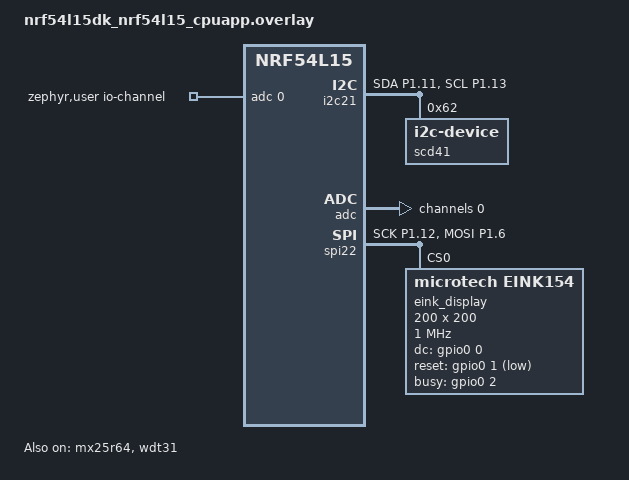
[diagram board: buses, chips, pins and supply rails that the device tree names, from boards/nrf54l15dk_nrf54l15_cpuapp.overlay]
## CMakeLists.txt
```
#
# Copyright (c) 2023 Nordic Semiconductor ASA
#
# SPDX-License-Identifier: LicenseRef-Nordic-5-Clause
#

cmake_minimum_required(VERSION 3.20.0)

find_package(Zephyr HINTS $ENV{ZEPHYR_BASE})

project(thermostat)

# Enable GNU STD support.
include(${ZEPHYR_CONNECTEDHOMEIP_MODULE_DIR}/config/nrfconnect/app/enable-gnu-std.cmake)

# NORDIC SDK APP START

# Include all source files that are located in the Matter common directory.
include(${ZEPHYR_NRF_MODULE_DIR}/samples/matter/common/cmake/source_common.cmake)

# Include Data Model utils
include(${ZEPHYR_NRF_MODULE_DIR}/samples/matter/common/cmake/data_model.cmake)

include(${ZEPHYR_NRF_MODULE_DIR}/samples/matter/common/cmake/zap_helpers.cmake)
ncs_get_zap_parent_dir(ZAP_PARENT_DIR)

target_include_directories(app PRIVATE
  src
  ${ZAP_PARENT_DIR}
)

target_sources(app PRIVATE
  src/app_task.cpp
  src/battery_manager.cpp
  src/display_manager.cpp
  src/main.cpp
  src/temp_sensor_manager.cpp
  src/temperature_manager.cpp
  src/temperature_measurement/sensor.cpp
  src/temperature_measurement/scd41.c
  src/drivers/eink154.c
  src/font_render.c
  src/zcl_callbacks.cpp
  ${ZEPHYR_NRF_MODULE_DIR}/samples/matter/common/src/binding/binding_handler.cpp
)

ncs_configure_data_model()
# NORDIC SDK APP END
```

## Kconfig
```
#
# Copyright (c) 2023 Nordic Semiconductor
#
# SPDX-License-Identifier: LicenseRef-Nordic-5-Clause
#
mainmenu "Matter Thermostat sample application"

config THERMOSTAT_TEMPERATURE_STEP
	int "Defines a simulated temperature step. Use 0 for random"
	default 0
	help
	  A temperature step that defines differences between consecutive simulated temperature measurements. If set to 0, then the step is random.

config THERMOSTAT_SIMULATED_TEMPERATURE_MAX
	int "Maximum simulated temperature value"
	default 3000

config THERMOSTAT_SIMULATED_TEMPERATURE_MIN
	int "Minimum simulated temperature value"
	default 1500

config THERMOSTAT_SIMULATED_TEMPERATURE_CHANGE
	bool "Select to set the temperature to rise or fall"
	default y
	help
	  If set to true, the simulated temperature is rising. If set to false, the simulated temperature is falling.

# Enable Read Client functionality for all build configurations.
config CHIP_ENABLE_READ_CLIENT
	default y

config WT_DISABLE_TRV_SUBSCRIPTION
	bool "Power-Messtest: TRV-Subscription deaktiviert"
	default n
	help
	  Nur fuer die PPK2-Stromverbrauchsmessung - keine Subscription zum
	  TRV-Heizkoerperventil. NICHT fuer normale Builds, das Ventil wird
	  dann nicht angesteuert.

config WT_DISABLE_SENSOR
	bool "Power-Messtest: SCD41-Sensor-Timer deaktiviert"
	default n
	help
	  Nur fuer die PPK2-Stromverbrauchsmessung - kein SCD41-Polling.
	  NICHT fuer normale Builds, es werden keine Temperatur-/
	  Feuchtigkeitswerte gemessen.

config WT_DISABLE_DISPLAY
	bool "Power-Messtest: E-Paper-Display deaktiviert"
	default n
	help
	  Nur fuer die PPK2-Stromverbrauchsmessung - Display-Treiber wird nicht
	  initialisiert, keine Refreshes. NICHT fuer normale Builds, das Geraet
	  zeigt dann nichts an.

config WT_POWER_TEST_MINIMAL
	bool "Power-Messtest: TRV-Subscription, Sensor-Timer und Display-Updates deaktiviert"
	default n
	select WT_DISABLE_TRV_SUBSCRIPTION
	select WT_DISABLE_SENSOR
	select WT_DISABLE_DISPLAY
	help
	  Nur fuer die PPK2-Stromverbrauchsmessung (Test A) - lasst nur ICD/Thread
	  Boot+Attach+Idle laufen, ohne jegliche TRV-Subscription, SCD41-Polling
	  oder E-Paper-Refreshes. Isoliert den reinen ICD/Thread-Stromanteil vom
	  Rest der Anwendung. Kombiniert die drei einzelnen Schalter unten - fuer
	  gezieltere Tests (nur EINEN Verbraucher abschalten) die einzelnen
	  Schalter direkt setzen statt diesen hier. NICHT fuer normale Builds
	  verwenden - das Geraet zeigt dann keine Werte an und aktualisiert das
	  Ventil nicht.

# Sample configuration used for Thread networking
if OPENTHREAD

choice OPENTHREAD_NORDIC_LIBRARY_CONFIGURATION
	default OPENTHREAD_NORDIC_LIBRARY_MTD
endchoice

choice OPENTHREAD_DEVICE_TYPE
	default OPENTHREAD_MTD
endchoice

endif # OPENTHREAD

config CHIP_WIFI
	default y if SHIELD_NRF7002EB2

source "$(ZEPHYR_CONNECTEDHOMEIP_MODULE_DIR)/config/nrfconnect/chip-module/Kconfig.features"
source "$(ZEPHYR_CONNECTEDHOMEIP_MODULE_DIR)/config/nrfconnect/chip-module/Kconfig.defaults"
source "$(ZEPHYR_NRF_MODULE_DIR)/samples/matter/common/src/Kconfig"
source "Kconfig.zephyr"
```

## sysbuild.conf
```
#
# Copyright (c) 2024 Nordic Semiconductor
#
# SPDX-License-Identifier: LicenseRef-Nordic-5-Clause
#

SB_CONFIG_MATTER=y
SB_CONFIG_PARTITION_MANAGER=n

# Kconfig.sysbuild defaults this to y unconditionally, which needs DAC/PAI
# certs we don't have (CONFIG_CHIP_FACTORY_DATA_NONE=y in prj.conf - no
# factory data provider at all). A previous incremental build happened to
# have a stale cached factory_data.hex lying around so this never surfaced;
# a full pristine (-p always) build removes it and the matter_factory_data
# sysbuild image then fails trying to regenerate certs we never configured.
SB_CONFIG_MATTER_FACTORY_DATA_GENERATE=n

# Pure Ed25519 image signing: skips the separate SHA pre-hash step in the
# bootloader verify path (smaller mcuboot). Applied at sysbuild level so the
# app image is signed with the matching scheme.
SB_CONFIG_BOOT_SIGNATURE_TYPE_PURE=y
```

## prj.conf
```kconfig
#
# Copyright (c) 2023 Nordic Semiconductor ASA
#
# SPDX-License-Identifier: LicenseRef-Nordic-5-Clause
#

# This sample uses Kconfig.defaults to set options common for all
# samples. This file should contain only options specific for this sample
# or overrides of default values.

# Enable CHIP
CONFIG_CHIP=y
CONFIG_CHIP_PROJECT_CONFIG="src/chip_project_config.h"
CONFIG_CHIP_DEVICE_PRODUCT_NAME="Wandthermostat"
CONFIG_I2C=y
CONFIG_ADC=y
CONFIG_AUXDISPLAY=n
CONFIG_AUXDISPLAY_HD44780=n

# E-Paper (Microtech MTE0154A03B-V1), replaces the HD44780
CONFIG_DISPLAY=y
CONFIG_SPI=y
# Without this the eink154 driver's own LOG_INF/LOG_WRN/LOG_ERR never show up
# at all (not even the always-on "initialisiert" line) - its log module is
# keyed off CONFIG_DISPLAY_LOG_LEVEL, which stays effectively off otherwise.
CONFIG_DISPLAY_LOG_LEVEL_INF=y
# k_malloc() for the framebuffer (display_manager.cpp, eink154.c). 6000 was
# too tight for a single 5000-byte allocation - sys_heap bookkeeping and
# possibly other k_malloc users leave less usable space than the nominal
# pool size suggests. 16 KiB gives real headroom.
CONFIG_HEAP_MEM_POOL_SIZE=16384

# Configure ZAP file name
CONFIG_NCS_SAMPLE_MATTER_ZAP_FILE_PATH="${APPLICATION_CONFIG_DIR}/src/default_zap/thermostat.zap"

# 32782 == 0x800e (example thermostat product)
CONFIG_CHIP_DEVICE_PRODUCT_ID=32782
CONFIG_STD_CPP17=y

# Enable Matter pairing automatically on application start.
CONFIG_CHIP_ENABLE_PAIRING_AUTOSTART=y

# Enable Matter extended announcement and increase duration to 1 hour.
CONFIG_CHIP_BLE_EXT_ADVERTISING=y
CONFIG_CHIP_BLE_ADVERTISING_DURATION=60

# Add support for LEDs and buttons on Nordic development kits
CONFIG_DK_LIBRARY=y

# Bluetooth Low Energy configuration
CONFIG_BT_DEVICE_NAME="MatterThermo"

# Other settings
CONFIG_THREAD_NAME=y
CONFIG_MPU_STACK_GUARD=y
CONFIG_RESET_ON_FATAL_ERROR=y
CONFIG_NCS_SAMPLE_MATTER_WATCHDOG=y
CONFIG_CHIP_LIB_SHELL=n
CONFIG_NCS_SAMPLE_MATTER_TEST_SHELL=n

# Crash diagnostics (kept as a safety net; found the abort() root cause with
# these + a GDB breakpoint, LOG_MODE_IMMEDIATE/EXCEPTION_STACK_TRACE removed
# again since they didn't contribute and add overhead)
CONFIG_ASSERT=y
CONFIG_ASSERT_VERBOSE=y
CONFIG_THREAD_STACK_INFO=y

# arm-zephyr-eabi-readelf.exe is blocked by WDAC on the build machine; this
# skips the post-build zephyr.stat generation that calls it (diagnostic-only
# output, nothing in the build depends on it).
CONFIG_OUTPUT_STAT=n

# Default system workqueue stack (1120 B) is too small for BatteryManager's
# work handler: ADC read + 8 back-to-back Matter attribute writes overflowed
# it (Zephyr fatal error 2, thread "sysworkq").
CONFIG_SYSTEM_WORKQUEUE_STACK_SIZE=4096

# Disable NFC onboarding
CONFIG_CHIP_NFC_ONBOARDING_PAYLOAD=y

# Reduce application size
CONFIG_USE_SEGGER_RTT=n

# Factory Data completely disabled (choice option "No factory data provider")
# - avoids Factory Data generation tooling, blocked by WDAC on build machine
CONFIG_CHIP_FACTORY_DATA_NONE=y

# Fixed commissioning values for testing
CONFIG_CHIP_DEVICE_DISCRIMINATOR=0xF00
CONFIG_CHIP_DEVICE_SPAKE2_PASSCODE=20202021
CONFIG_CHIP_DEVICE_VENDOR_ID=65521
```

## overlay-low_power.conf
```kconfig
CONFIG_CHIP_ENABLE_ICD_SUPPORT=y
# LIT (Long Idle Time) zieht automatisch CHECK_IN_SUPPORT + UAT_SUPPORT mit
# rein (zusaetzlicher periodischer Check-In-Funkverkehr an registrierte
# Clients) - haben wir ohne echten Bedarf (kein Hub braucht 120s-Idle-Zeiten)
# aktiviert gehabt. TRV-Referenzprojekt nutzt stattdessen einfaches SIT
# (Short Idle Time) und kommt auf 23-25uA. Ausserdem war unser
# ACTIVE_MODE_DURATION=300ms laut Kconfig-Hilfetext fuer LIT-Geraete ohnehin
# ungueltig (Minimum 5000ms fuer LIT). Zurueck auf SIT.
# CONFIG_CHIP_ICD_LIT_SUPPORT=y
# Ohne LIT_SUPPORT gilt der SIT-Spec-Grenzwert: SLOW_POLL_INTERVAL darf
# 15000ms (CHIP_ICD_SIT_SLOW_POLL_LIMIT) nicht ueberschreiten, sonst schlaegt
# ein static_assert in ICDConfigurationData.h fehl. 120000 (vorheriger Wert,
# nur fuer LIT gueltig) geht nicht mehr - also auf das SIT-Maximum.
CONFIG_CHIP_ICD_SLOW_POLL_INTERVAL=15000
CONFIG_CHIP_ICD_FAST_POLLING_INTERVAL=200
CONFIG_CHIP_ICD_ACTIVE_MODE_DURATION=300
# Dieses Symbol ist in SEKUNDEN (nicht ms) - 120000 wurde faelschlich als ms
# interpretiert und ueberschritt die Matter-Spec-Obergrenze von 64800s (18h).
# Referenzprojekt meinte "120 s" (Sekunden).
CONFIG_CHIP_ICD_IDLE_MODE_DURATION=120


CONFIG_NCS_SAMPLE_MATTER_LEDS=n
CONFIG_CHIP_LIB_SHELL=n

CONFIG_OPENTHREAD_MTD=y
CONFIG_OPENTHREAD_NORDIC_LIBRARY_MTD=y
CONFIG_OPENTHREAD_DEFAULT_TX_POWER=0

CONFIG_CHIP_NFC_ONBOARDING_PAYLOAD=n
CONFIG_CHIP_BLE_EXT_ADVERTISING=y

CONFIG_SYSTEM_CLOCK_NO_WAIT=y
# Von 4000ms erhoeht - jede Kalibrierung kostet einen kurzen Stromspike,
# seltener kalibrieren spart im Schnitt etwas Strom auf Kosten der
# HF-Timing-Genauigkeit (bei 8s weiterhin unkritisch).
CONFIG_MPSL_CALIBRATION_PERIOD=8000

CONFIG_SHELL=n
CONFIG_OPENTHREAD_SHELL=n
CONFIG_BOOT_BANNER=n

# UART/Konsole komplett aus - spart den Stromverbrauch des UART-Taktdomains,
# kostet dafuer jegliche Boot-/Debug-Ausgabe in diesem Build.
CONFIG_SERIAL=n
CONFIG_UART_CONSOLE=n
CONFIG_CONSOLE=n

# Alle Log-Arten komplett aus (RTT war in prj.conf ohnehin schon deaktiviert,
# das hier schaltet auch den Log-Subsystem-Overhead selbst ab, nicht nur den
# Ausgabeweg).
CONFIG_LOG=n
CONFIG_LOG_MODE_MINIMAL=n

CONFIG_RAM_POWER_DOWN_LIBRARY=y
CONFIG_PM_DEVICE=y
# Ohne das schlief ungenutzte Peripherie (I2C/SPI/ADC/Display) nie, auch
# wenn CONFIG_PM_DEVICE=y gesetzt war - Runtime-PM ruft das Device-Suspend
# tatsaechlich auf, sobald ein Treiber ungenutzt ist (nicht nur CPU-Idle).
CONFIG_PM_DEVICE_RUNTIME=y

CONFIG_PRINTK=n
CONFIG_ASSERT=n
CONFIG_ASSERT_VERBOSE=n
CONFIG_DEBUG=n

# CONFIG_PM=y wird vom Kconfig-System fuer nrf54l15dk/cpuapp aktuell (NCS v3.4.0)
# ignoriert ("assigned the value 'y' but got the value 'n'": HAS_PM ist fuer die
# nRF54L-SoC-Serie in diesem Zephyr-Tree noch nicht selektiert, nur nRF54H/nRF92).
# Bleibt trotzdem gesetzt fuer den Tag, an dem NCS das nachruestet - hat aktuell
# keine Wirkung, der eigentliche Gewinn kommt aus PM_DEVICE_RUNTIME oben.
CONFIG_PM=y
```

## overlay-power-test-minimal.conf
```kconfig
# Test A (PPK2-Isolationsmessung): Nur ICD/Thread Boot+Attach+Idle, keine
# TRV-Subscription, kein SCD41-Sensor-Polling, kein E-Paper-Refresh. Zusammen
# mit overlay-low_power.conf verwenden:
#
#   -DEXTRA_CONF_FILE="overlay-low_power.conf;overlay-power-test-minimal.conf"
#
# NICHT fuer normale Builds - das Geraet zeigt dann nichts an und steuert
# das Ventil nicht. Nur zum Isolieren des reinen ICD/Thread-Stromanteils.
CONFIG_WT_POWER_TEST_MINIMAL=y
```

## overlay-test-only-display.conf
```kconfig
# Test B (PPK2-Isolationsmessung): ICD/Thread + E-Paper-Display aktiv,
# Sensor und TRV-Subscription deaktiviert. Zusammen mit overlay-low_power.conf:
#
#   -DEXTRA_CONF_FILE="overlay-low_power.conf;overlay-test-only-display.conf"
#
# NICHT fuer normale Builds - es werden keine Sensordaten gemessen und das
# Ventil nicht angesteuert.
CONFIG_WT_DISABLE_SENSOR=y
CONFIG_WT_DISABLE_TRV_SUBSCRIPTION=y
```

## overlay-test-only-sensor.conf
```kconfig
# Test C (PPK2-Isolationsmessung): ICD/Thread + SCD41-Sensor aktiv,
# Display und TRV-Subscription deaktiviert. Zusammen mit overlay-low_power.conf:
#
#   -DEXTRA_CONF_FILE="overlay-low_power.conf;overlay-test-only-sensor.conf"
#
# NICHT fuer normale Builds - das Geraet zeigt nichts an und das Ventil wird
# nicht angesteuert.
CONFIG_WT_DISABLE_DISPLAY=y
CONFIG_WT_DISABLE_TRV_SUBSCRIPTION=y
```

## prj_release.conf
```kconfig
#
# Copyright (c) 2023 Nordic Semiconductor ASA
#
# SPDX-License-Identifier: LicenseRef-Nordic-5-Clause
#

# This sample uses Kconfig.defaults to set options common for all
# samples. This file should contain only options specific for this sample
# or overrides of default values.

# Enable CHIP
CONFIG_CHIP=y
CONFIG_CHIP_PROJECT_CONFIG="src/chip_project_config.h"
CONFIG_CHIP_DEVICE_PRODUCT_NAME="Wandthermostat"

# Configure ZAP file name
CONFIG_NCS_SAMPLE_MATTER_ZAP_FILE_PATH="${APPLICATION_CONFIG_DIR}/src/default_zap/thermostat.zap"

# 32782 == 0x800e (example thermostat product)
CONFIG_CHIP_DEVICE_PRODUCT_ID=32782
CONFIG_STD_CPP17=y

# Enable Matter pairing automatically on application start.
CONFIG_CHIP_ENABLE_PAIRING_AUTOSTART=y

# Enable Matter extended announcement and increase duration to 1 hour.
CONFIG_CHIP_BLE_EXT_ADVERTISING=y
CONFIG_CHIP_BLE_ADVERTISING_DURATION=60

# Add support for LEDs and buttons on Nordic development kits
CONFIG_DK_LIBRARY=y

# Bluetooth Low Energy configuration
CONFIG_BT_DEVICE_NAME="MatterThermo"

# Enable system reset on fatal error
CONFIG_RESET_ON_FATAL_ERROR=y

# Disable all debug features
CONFIG_USE_SEGGER_RTT=n
CONFIG_SHELL=n
CONFIG_OPENTHREAD_SHELL=n
CONFIG_CONSOLE=n
CONFIG_UART_CONSOLE=n
CONFIG_SERIAL=n
CONFIG_LOG=n
CONFIG_LOG_MODE_MINIMAL=n
CONFIG_ASSERT=n
CONFIG_ASSERT_VERBOSE=n
CONFIG_ASSERT_NO_FILE_INFO=y
CONFIG_PRINTK=n
CONFIG_PRINTK_SYNC=n
CONFIG_THREAD_NAME=n
CONFIG_DEBUG=n
CONFIG_BOOT_BANNER=n

# Disable NFC onboarding
CONFIG_CHIP_NFC_ONBOARDING_PAYLOAD=n

# Enable Factory Data feature
# TODO: SB_CONFIG_MATTER_FACTORY_DATA_GENERATE=n in sysbuild.conf blockiert
# echte Factory-Data fuer Release-Builds (wurde fuer den normalen prj.conf-
# Debug-Build noetig, siehe Kommentar dort: DAC/PAI-Zertifikate fehlen).
# Vor Produktionsstart build-spezifisch loesen, sonst generiert dieser
# Release-Build hier trotz CONFIG_CHIP_FACTORY_DATA_BUILD=y keine echten
# Credentials.
CONFIG_CHIP_FACTORY_DATA=y
CONFIG_CHIP_FACTORY_DATA_BUILD=y

# Enable Watchdog
CONFIG_NCS_SAMPLE_MATTER_WATCHDOG=y

# Low-Power-Konfiguration (Session vom 2026-10-22/23, auf ~9uA im 19h-Test
# gemessen - siehe overlay-low_power.conf fuer die urspruengliche, separate
# Variante). Jetzt fester Bestandteil des Release-Builds, nicht mehr nur
# optionales Overlay.

# Matter ICD (Thread Sleepy End Device) - SIT (Short Idle Time), bewusst
# NICHT LIT: LIT zieht automatisch CHECK_IN_SUPPORT + UAT_SUPPORT mit rein
# (periodischer Check-In-Funkverkehr), den wir ohne Hub-Bedarf nicht
# brauchen - kostete in einem fruehen Test unnoetig Strom.
CONFIG_CHIP_ENABLE_ICD_SUPPORT=y
# SIT-Spec-Maximum (CHIP_ICD_SIT_SLOW_POLL_LIMIT) ist 15000ms - darueber
# schlaegt ein static_assert in ICDConfigurationData.h fehl.
CONFIG_CHIP_ICD_SLOW_POLL_INTERVAL=15000
CONFIG_CHIP_ICD_FAST_POLLING_INTERVAL=200
CONFIG_CHIP_ICD_ACTIVE_MODE_DURATION=300
# In Sekunden, nicht ms.
CONFIG_CHIP_ICD_IDLE_MODE_DURATION=120

CONFIG_NCS_SAMPLE_MATTER_LEDS=n
CONFIG_CHIP_LIB_SHELL=n

CONFIG_OPENTHREAD_MTD=y
CONFIG_OPENTHREAD_NORDIC_LIBRARY_MTD=y
CONFIG_OPENTHREAD_DEFAULT_TX_POWER=0

CONFIG_SYSTEM_CLOCK_NO_WAIT=y
CONFIG_MPSL_CALIBRATION_PERIOD=4000

CONFIG_RAM_POWER_DOWN_LIBRARY=y
CONFIG_PM_DEVICE=y
# Ohne das schlief ungenutzte Peripherie (I2C/SPI/ADC/Display) nie, auch
# wenn CONFIG_PM_DEVICE=y gesetzt war - Runtime-PM ruft das Device-Suspend
# tatsaechlich auf, sobald ein Treiber ungenutzt ist (nicht nur CPU-Idle).
CONFIG_PM_DEVICE_RUNTIME=y

# CONFIG_PM=y wird vom Kconfig-System fuer nrf54l15dk/cpuapp aktuell (NCS
# v3.4.0) ignoriert (HAS_PM ist fuer die nRF54L-SoC-Serie in diesem Zephyr-
# Tree noch nicht selektiert). Bleibt trotzdem gesetzt fuer den Tag, an dem
# NCS das nachruestet - hat aktuell keine Wirkung.
CONFIG_PM=y

# Enable LTO to decrease the flash usage.
CONFIG_LTO=y
CONFIG_ISR_TABLES_LOCAL_DECLARATION=y

# Treiber-Configs, die seitdem in prj.conf dazugekommen sind (SCD41-Sensor,
# E-Paper-Display) - ohne diese wuerde ein Release-Build aktuell gar nicht
# mehr durchlaufen (I2C/ADC/DISPLAY/SPI fehlten komplett in dieser Datei).
CONFIG_I2C=y
CONFIG_ADC=y
CONFIG_DISPLAY=y
CONFIG_SPI=y
CONFIG_HEAP_MEM_POOL_SIZE=16384
CONFIG_SYSTEM_WORKQUEUE_STACK_SIZE=4096
```

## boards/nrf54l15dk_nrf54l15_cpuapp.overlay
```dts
/*
 * Copyright (c) 2024 Nordic Semiconductor ASA
 *
 * SPDX-License-Identifier: LicenseRef-Nordic-5-Clause
 */

#include <samples/matter/nrf54l15_cpuapp_partitions.dtsi>

/ {
	aliases {
		/* Use watchdog wdt31 as the application watchdog */
		watchdog0 = &wdt31;
	};

	chosen {
		nordic,pm-ext-flash = &mx25r64;
	};
};

&mx25r64 {
	status = "okay";
};

&wdt31 {
	status = "okay";
};

&pinctrl {
	i2c21_default: i2c21_default {
		group1 {
			psels = <NRF_PSEL(TWIM_SDA, 1, 11)>,
				<NRF_PSEL(TWIM_SCL, 1, 13)>;
			bias-pull-up;
		};
	};

	i2c21_sleep: i2c21_sleep {
		group1 {
			psels = <NRF_PSEL(TWIM_SDA, 1, 11)>,
				<NRF_PSEL(TWIM_SCL, 1, 13)>;
			low-power-enable;
		};
	};
};

&i2c21 {
	status = "okay";
	pinctrl-0 = <&i2c21_default>;
	pinctrl-1 = <&i2c21_sleep>;
	pinctrl-names = "default", "sleep";

	scd41: scd41@62 {
		compatible = "i2c-device";
		reg = <0x62>;
	};
};

/* Custom pinctrl for spi22, NOT the board's spi22_default: that one puts
 * SCK on P1.11, which collides with i2c21's SDA (SCD41) above. SPIM pin
 * mux on the nRF54L is freely assignable, so SCK/MOSI are moved to
 * previously-unused pins instead. Write-only (display breakout only has
 * BUSY/RST/DC/CS/CLK/DIN/GND/VCC - confirmed no SDO/MISO pin exists on
 * this board at all), so MISO is left unconfigured. */
&pinctrl {
	spi22_eink_default: spi22_eink_default {
		group1 {
			psels = <NRF_PSEL(SPIM_SCK, 1, 12)>,
				<NRF_PSEL(SPIM_MOSI, 1, 6)>;
		};
	};

	spi22_eink_sleep: spi22_eink_sleep {
		group1 {
			psels = <NRF_PSEL(SPIM_SCK, 1, 12)>,
				<NRF_PSEL(SPIM_MOSI, 1, 6)>;
			low-power-enable;
		};
	};
};

/ {
	zephyr,user {
		io-channels = <&adc 0>;
	};
};

&adc {
	#address-cells = <1>;
	#size-cells = <0>;

	channel@0 {
		reg = <0>;
		zephyr,gain = "ADC_GAIN_1_4";
		zephyr,reference = "ADC_REF_INTERNAL";
		zephyr,vref-mv = <900>;
		zephyr,acquisition-time = <ADC_ACQ_TIME_DEFAULT>;
		zephyr,input-positive = <NRF_SAADC_VDD>;
		zephyr,resolution = <12>;
	};
};

/* Console/shell stays on UART20 (P1.04-P1.07), no override needed. */

/* LED1 (P1.10) and LED3 (P1.14) are sacrificed for the LCD RS and D7 lines. */
/delete-node/ &led1;
/delete-node/ &led3;

/* PWM20 also drives P1.10 (PWM_OUT0) - disable it and its LED so RS is free. */
/delete-node/ &pwm_led1;

&pwm20 {
	status = "disabled";
};

/ {
	aliases {
		/delete-property/ led1;
		/delete-property/ led3;
		/delete-property/ pwm-led0;
	};

};

/* E-Paper (Microtech MTE0154A03B-V1) on the free spi22 instance, routed to
 * the expansion header. This is real hardware SPI, not bitbanged - zephyr's
 * spi-gpio driver doesn't exist in this NCS version (checked), and spi22 is
 * exactly the instance Nordic's own board dtsi reserves for this purpose
 * ("nordic_expansion_spi"). cs-gpios' default (P1.10) is kept; DC/RESET/BUSY
 * are plain GPIOs on previously-unused pins.
 *
 * Note from Nordic's board dtsi: spi22 is documented there as conflicting
 * with UART30 - our console is UART20, not UART30, and RTS on UART20
 * happens to share this SPI's MOSI pin (P1.06). Unused as long as UART20
 * hardware flow control stays off (the default); verify on the real board
 * if the console misbehaves after this change.
 *
 * pinctrl-0/1 overridden below (spi22_eink_default/sleep), NOT the board's
 * own spi22_default/sleep - those put SCK on P1.11, which is the SCD41's
 * I2C SDA pin (see &i2c21 above). */
&spi22 {
	status = "okay";
	pinctrl-0 = <&spi22_eink_default>;
	pinctrl-1 = <&spi22_eink_sleep>;
	pinctrl-names = "default", "sleep";

	eink_display: eink@0 {
		compatible = "microtech,eink154";
		reg = <0>;
		spi-max-frequency = <1000000>;
		/* P2.06/08/10 (vorherige Belegung) sind laut nRF54L15 DK Hardware
		 * User Guide standardmaessig mit dem Debug-TRACE-Port verbunden
		 * (TRACECLK/TRACEDATA[1]/TRACEDATA[3]) - nicht freie GPIOs. Das
		 * erklaerte, warum RESET per Software nicht auf LOW zu bekommen
		 * war (TRACE-Port-Treiber ueberstimmt den Software-Pegel). Auf
		 * P0 verschoben - dort ist laut Devicetree nur P0.04 (Button3)
		 * belegt, keine SWD/Debug-Pins. */
		dc-gpios = <&gpio0 0 GPIO_ACTIVE_HIGH>;
		reset-gpios = <&gpio0 1 GPIO_ACTIVE_LOW>;
		busy-gpios = <&gpio0 2 GPIO_ACTIVE_HIGH>;
		width = <200>;
		height = <200>;
	};
};
```

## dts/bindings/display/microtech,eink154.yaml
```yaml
description: Microtech MTE0154A03B-V1 1.54" E-Paper Display

compatible: "microtech,eink154"

include: spi-device.yaml

properties:
  dc-gpios:
    type: phandle-array
    required: true
    description: Data/Command GPIO

  reset-gpios:
    type: phandle-array
    required: true
    description: Reset GPIO

  busy-gpios:
    type: phandle-array
    required: true
    description: Busy status GPIO

  width:
    type: int
    required: true
    description: Display width in pixels

  height:
    type: int
    required: true
    description: Display height in pixels
```

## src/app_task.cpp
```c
/*
 * Copyright (c) 2023 Nordic Semiconductor ASA
 *
 * SPDX-License-Identifier: LicenseRef-Nordic-5-Clause
 */

#include "app_task.h"

#include "battery_manager.h"
#include "display_manager.h"
#include "temp_sensor_manager.h"
#include "temperature_manager.h"
#include "temperature_measurement/sensor.h"

#include "app/matter_init.h"
#include "app/task_executor.h"
#include "clusters/identify.h"

#include <app-common/zap-generated/attributes/Accessors.h>
#include <setup_payload/OnboardingCodesUtil.h>

#include <dk_buttons_and_leds.h>
#include <zephyr/logging/log.h>

LOG_MODULE_DECLARE(app, CONFIG_MATTER_LOG_LEVEL);

using namespace ::chip;
using namespace ::chip::app;
using namespace ::chip::DeviceLayer;

namespace
{
constexpr EndpointId kThermostatEndpointId = 1;

Nrf::Matter::IdentifyCluster sIdentifyCluster(kThermostatEndpointId);

#define TEMPERATURE_BUTTON_MASK DK_BTN2_MSK
#define BINDING_BUTTON_MASK DK_BTN2_MSK
#define MINUS_BUTTON_MASK DK_BTN3_MSK
#define PLUS_BUTTON_MASK DK_BTN4_MSK
#define SYSTEM_MODE_BUTTON_MASK DK_BTN1_MSK

constexpr int64_t kDoublePressWindowMs = 600;

constexpr int16_t kSetpointStep = 50;   /* 0.5 °C step, Matter units are centi-degrees */
constexpr int16_t kSetpointMin = 700;   /* 7.0 °C */
constexpr int16_t kSetpointMax = 2850;  /* 28.5 °C */

constexpr uint32_t kBindingHoldTimeMs = 15000;
constexpr uint32_t kBindingBlinkIntervalMs = 150;
constexpr uint32_t kBindingBlinkDurationMs = 2000;

k_timer sBindingHoldTimer;
k_timer sBindingReadyBlinkTimer;
k_timer sBindingReadyStopTimer;
bool sBindingModePending = false;
bool sBindingBlinkState = false;
} /* namespace */

int64_t AppTask::sLastButton0PressTime = 0;
bool AppTask::sSystemModeIsHeating = true;

void AppTask::ButtonEventHandler(Nrf::ButtonState state, Nrf::ButtonMask hasChanged)
{
	if (SYSTEM_MODE_BUTTON_MASK & hasChanged) {
		if (SYSTEM_MODE_BUTTON_MASK & state) {
			int64_t now = k_uptime_get();
			if (now - sLastButton0PressTime < kDoublePressWindowMs) {
				Nrf::PostTask([] { AppTask::SystemModeButtonHandler(); });
				sLastButton0PressTime = 0;
			} else {
				sLastButton0PressTime = now;
			}
		}
	}

	if (BINDING_BUTTON_MASK & hasChanged) {
		if (BINDING_BUTTON_MASK & state) {
			k_timer_start(&sBindingHoldTimer, K_MSEC(kBindingHoldTimeMs), K_NO_WAIT);
		} else {
			k_timer_stop(&sBindingHoldTimer);

			if (!sBindingModePending) {
				Nrf::PostTask([] { TemperatureSensor::Instance().ExternalMeasurement(); });
			} else {
				sBindingModePending = false;
			}
		}
	}

	if (MINUS_BUTTON_MASK & hasChanged) {
		if (MINUS_BUTTON_MASK & state) {
			if (sSystemModeIsHeating) { /* ignore setpoint changes while Off */
				Nrf::PostTask([] {
					AppTask::AdjustSetpoint(-kSetpointStep);
					DisplayManager::Instance().ShowSetpointTemporarily();
				});
			}
		}
	}

	if (PLUS_BUTTON_MASK & hasChanged) {
		if (PLUS_BUTTON_MASK & state) {
			if (sSystemModeIsHeating) { /* ignore setpoint changes while Off */
				Nrf::PostTask([] {
					AppTask::AdjustSetpoint(kSetpointStep);
					DisplayManager::Instance().ShowSetpointTemporarily();
				});
			}
		}
	}
}

void AppTask::ThermostatHandler(const TemperatureButtonAction &action)
{
	if (action == TemperatureButtonAction::Pushed) {
		TemperatureManager::Instance().LogThermostatStatus();
	}
}

void AppTask::BindingHoldTimerHandler(k_timer *timer)
{
	Nrf::PostTask([] { AppTask::EnterBindingReadyMode(); });
}

void AppTask::EnterBindingReadyMode()
{
	LOG_INF("Binding-ready mode activated (button held 15s)");
	sBindingModePending = true;

	k_timer_start(&sBindingReadyBlinkTimer, K_MSEC(kBindingBlinkIntervalMs), K_MSEC(kBindingBlinkIntervalMs));
	k_timer_start(&sBindingReadyStopTimer, K_MSEC(kBindingBlinkDurationMs), K_NO_WAIT);
}

void AppTask::BindingReadyBlinkHandler(k_timer *timer)
{
	sBindingBlinkState = !sBindingBlinkState;
	dk_set_led(DK_LED2, sBindingBlinkState);
}

void AppTask::StopBindingReadyBlink(k_timer *timer)
{
	k_timer_stop(&sBindingReadyBlinkTimer);
	dk_set_led(DK_LED2, 0);
}

void AppTask::SystemModeButtonHandler()
{
	using namespace chip::app::Clusters::Thermostat::Attributes;
	using chip::app::Clusters::Thermostat::SystemModeEnum;

	sSystemModeIsHeating = !sSystemModeIsHeating;
	SystemModeEnum newMode = sSystemModeIsHeating ? SystemModeEnum::kHeat : SystemModeEnum::kOff;

	PlatformMgr().LockChipStack();
	SystemMode::Set(kThermostatEndpointId, newMode);
	PlatformMgr().UnlockChipStack();

	DisplayManager::Instance().SetSystemModeIsHeating(sSystemModeIsHeating);
	DisplayManager::Instance().ShowModeTemporarily(sSystemModeIsHeating);

	LOG_INF("System mode toggled to: %s", sSystemModeIsHeating ? "Heating" : "Off");
}

void AppTask::AdjustSetpoint(int16_t delta)
{
	using namespace chip::app::Clusters::Thermostat::Attributes;
	using chip::Protocols::InteractionModel::Status;

	int16_t current = 0;

	PlatformMgr().LockChipStack();

	if (OccupiedHeatingSetpoint::Get(kThermostatEndpointId, &current) == Status::Success) {
		int32_t newValue = static_cast<int32_t>(current) + delta;
		if (newValue < kSetpointMin) {
			newValue = kSetpointMin;
		}
		if (newValue > kSetpointMax) {
			newValue = kSetpointMax;
		}

		OccupiedHeatingSetpoint::Set(kThermostatEndpointId, static_cast<int16_t>(newValue));
		LOG_INF("Setpoint adjusted to %d.%d C", static_cast<int>(newValue / 100),
			static_cast<int>((newValue % 100) / 10));
	} else {
		LOG_ERR("Failed to read current setpoint");
	}

	PlatformMgr().UnlockChipStack();
}

CHIP_ERROR AppTask::Init()
{
	/* Initialize Matter stack */
	ReturnErrorOnFailure(Nrf::Matter::PrepareServer(Nrf::Matter::InitData{ .mPostServerInitClbk = [] {
		CHIP_ERROR err = TempSensorManager::Instance().Init();
		if (err != CHIP_NO_ERROR) {
			LOG_ERR("TempSensorManager Init fail");
			return err;
		}
		err = TemperatureManager::Instance().Init();
		if (err != CHIP_NO_ERROR) {
			LOG_ERR("TemperatureManager Init fail");
			return err;
		}
		err = BatteryManager::Instance().Init();
		if (err != CHIP_NO_ERROR) {
			LOG_ERR("BatteryManager Init fail");
			return err;
		}
#if !IS_ENABLED(CONFIG_WT_DISABLE_DISPLAY)
		/* DisplayManager::Init() macht zwei komplette Full-Frame-Refreshes
		 * (White-Balance-Test + RenderFrame()) mit mehreren Hardware-Busy-
		 * Waits (teils >2s) - lief bisher SYNCHRON hier in diesem Callback,
		 * der direkt auf dem CHIP/Matter-Thread ausgefuehrt wird. Das
		 * blockierte den Matter-Thread beim Boot fuer >6s ("Long dispatch
		 * time" im Log) und fiel zeitlich exakt mit zwei fehlgeschlagenen
		 * DNS-SD-Advertise-Versuchen zusammen (vermutlich kausal - der
		 * Stack war waehrend der Display-Init in einem inkonsistenten
		 * Zwischenzustand). Jetzt entkoppelt via PostTask auf den App-
		 * Thread, damit der Matter-Server-Start nicht blockiert. Nichts
		 * haengt von einem sofort fertigen Display ab - die ersten echten
		 * Werte kommen ohnehin erst durch die spaeteren Update*()-Aufrufe. */
		Nrf::PostTask([] {
			CHIP_ERROR displayErr = DisplayManager::Instance().Init();
			if (displayErr != CHIP_NO_ERROR) {
				LOG_ERR("DisplayManager Init fail");
			}
		});
#endif /* !CONFIG_WT_DISABLE_DISPLAY */
		return err;
	} }));

	k_timer_init(&sBindingHoldTimer, AppTask::BindingHoldTimerHandler, nullptr);
	k_timer_init(&sBindingReadyBlinkTimer, AppTask::BindingReadyBlinkHandler, nullptr);
	k_timer_init(&sBindingReadyStopTimer, AppTask::StopBindingReadyBlink, nullptr);

	if (!Nrf::GetBoard().Init(ButtonEventHandler)) {
		LOG_ERR("User interface initialization failed.");
		return CHIP_ERROR_INCORRECT_STATE;
	}

	/* Register Matter event handler that controls the connectivity status LED based on the captured Matter network
	 * state. */
	ReturnErrorOnFailure(Nrf::Matter::RegisterEventHandler(Nrf::Board::DefaultMatterEventHandler, 0));

	ReturnErrorOnFailure(sIdentifyCluster.Init());

	return Nrf::Matter::StartServer();
}

CHIP_ERROR AppTask::StartApp()
{
	ReturnErrorOnFailure(Init());

	while (true) {
		Nrf::DispatchNextTask();
	}

	return CHIP_NO_ERROR;
}
```

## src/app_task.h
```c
/*
 * Copyright (c) 2023 Nordic Semiconductor ASA
 *
 * SPDX-License-Identifier: LicenseRef-Nordic-5-Clause
 */

#pragma once

#include "board/board.h"

#include <platform/CHIPDeviceLayer.h>
#include <zephyr/kernel.h>

struct Identify;

enum class TemperatureButtonAction : uint8_t { Pushed, Released };

class AppTask {
public:
	static AppTask &Instance()
	{
		static AppTask sAppTask;
		return sAppTask;
	};

	CHIP_ERROR StartApp();

private:
	CHIP_ERROR Init();

	static void ButtonEventHandler(Nrf::ButtonState state, Nrf::ButtonMask hasChanged);
	static void ThermostatHandler(const TemperatureButtonAction &action);
	static void AdjustSetpoint(int16_t delta);

	static void BindingHoldTimerHandler(k_timer *timer);
	static void EnterBindingReadyMode();
	static void BindingReadyBlinkHandler(k_timer *timer);
	static void StopBindingReadyBlink(k_timer *timer);

	static void SystemModeButtonHandler();
	static int64_t sLastButton0PressTime;
	static bool sSystemModeIsHeating;
};
```

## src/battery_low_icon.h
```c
/* Auto-generiert (Batterie-niedrig-Warnsymbol, Akku-Umriss mit Blitz), 1bpp,
 * bit=0=schwarz, bit=1=weiss, MSB-first pro Zeile - gleiche Konvention wie
 * font_render.c. Wird nur bei niedrigem Akkustand unten rechts angezeigt. */
#pragma once
#include <stdint.h>

#define BATTERY_LOW_ICON_WIDTH 32
#define BATTERY_LOW_ICON_HEIGHT 32

static const uint8_t battery_low_icon_bitmap[] = {
	0xFF, 0xFF, 0xFF, 0xFF,
	0xFF, 0xFF, 0xDF, 0xFF,
	0xFF, 0xFF, 0x9F, 0xFF,
	0xFF, 0xFF, 0xBF, 0xFF,
	0xFF, 0xFF, 0x3F, 0xFF,
	0xFF, 0xFF, 0x3F, 0xFF,
	0xFF, 0xFE, 0x3F, 0xFF,
	0x80, 0x00, 0x00, 0x0F,
	0x3F, 0xF8, 0x7F, 0xE7,
	0x3F, 0xF8, 0x7F, 0xF7,
	0x3F, 0xF2, 0x7F, 0xF7,
	0x3F, 0xE6, 0x7F, 0xF7,
	0x3F, 0xE6, 0xFF, 0xF1,
	0x3F, 0xCC, 0x01, 0xF0,
	0x3F, 0x9F, 0xF3, 0xFC,
	0x3F, 0x9F, 0xE7, 0xFC,
	0x3F, 0x3F, 0xE7, 0xFC,
	0x3E, 0x3F, 0xCF, 0xFC,
	0x3E, 0x01, 0x9F, 0xF0,
	0x3F, 0xF9, 0x9F, 0xF1,
	0x3F, 0xFB, 0x3F, 0xF7,
	0x3F, 0xF2, 0x7F, 0xF7,
	0x3F, 0xF2, 0xFF, 0xF7,
	0x3F, 0xF0, 0xFF, 0xE7,
	0x80, 0x00, 0x00, 0x0F,
	0xFF, 0xE1, 0xFF, 0xFF,
	0xFF, 0xE3, 0xFF, 0xFF,
	0xFF, 0xE7, 0xFF, 0xFF,
	0xFF, 0xEF, 0xFF, 0xFF,
	0xFF, 0xEF, 0xFF, 0xFF,
	0xFF, 0xDF, 0xFF, 0xFF,
	0xFF, 0xFF, 0xFF, 0xFF,
};
```

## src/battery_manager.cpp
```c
/*
 * Copyright (c) 2023 Nordic Semiconductor ASA
 *
 * SPDX-License-Identifier: LicenseRef-Nordic-5-Clause
 */

#include "battery_manager.h"
#include "display_manager.h"

#include "app/task_executor.h"

#include <app-common/zap-generated/attributes/Accessors.h>
#include <app-common/zap-generated/cluster-objects.h>
#include <platform/PlatformManager.h>

#include <zephyr/drivers/adc.h>
#include <zephyr/logging/log.h>

LOG_MODULE_DECLARE(app, CONFIG_CHIP_APP_LOG_LEVEL);

using namespace chip;
using namespace chip::app;
using namespace chip::DeviceLayer;

namespace
{

/* Stueckweise Entladekurve fuer 2x Energizer Ultimate Lithium AA (L91) in
 * Serie, direkt an VDD (kein Regler/Diode dazwischen - sonst muss die ganze
 * Kurve um den Spannungsabfall des Bauteils verschoben werden). Basis:
 * Energizer L91-Datenblatt 1mA-Entladekurve (naechste oeffentlich verfuegbare
 * Rate zu unserem ~9uA-Idle-Profil - kein Sub-mA-Graph existiert) und die
 * nRF54L15-DK-Dokumentation ("nRF54L15 SoC direct supply", S.9: 1,8V-3,6V
 * erlaubter Bereich fuer Direktversorgung ohne Regler) als hartem 0%-Cutoff,
 * mit kleiner Marge ueber Nordics VDDPOR-Schwelle (1,75V laut Datenblatt).
 * Muss gegen den tatsaechlichen Schaltplan verifiziert werden, falls doch
 * ein Regler/eine Diode zwischen Batterie und VDD sitzt. */
struct BatteryCurvePoint {
	int32_t mv;
	uint8_t halfPercent; /* 0-200 = 0-100% */
};

constexpr BatteryCurvePoint kBatteryCurve[] = {
	{ 3400, 200 }, /* 100% - frisch */
	{ 3200, 170 }, /*  85% */
	{ 3100, 140 }, /*  70% - Plateau, L91 bei ~1mA sehr flach */
	{ 3000, 100 }, /*  50% */
	{ 2800, 50 },  /*  25% - Uebergang Richtung steilem Abfall */
	{ 2400, 20 },  /*  10% */
	{ 2000, 10 },  /*   5% */
	{ 1800, 0 },   /*   0% - Nordic-dokumentiertes Minimum fuer Direktversorgung */
};
constexpr size_t kBatteryCurvePoints = sizeof(kBatteryCurve) / sizeof(kBatteryCurve[0]);

constexpr uint8_t kPowerSourceEndpoint = 0;

static const struct adc_dt_spec sBatteryAdc = ADC_DT_SPEC_GET_BY_IDX(DT_PATH(zephyr_user), 0);

} /* namespace */

CHIP_ERROR BatteryManager::Init()
{
	if (!adc_is_ready_dt(&sBatteryAdc)) {
		LOG_ERR("Battery ADC not ready");
	} else if (adc_channel_setup_dt(&sBatteryAdc)) {
		LOG_ERR("Battery ADC channel setup failed");
	}

	k_work_init_delayable(&mBatteryWork, BatteryManager::BatteryWorkHandler);
	k_work_schedule(&mBatteryWork, K_NO_WAIT);

	return CHIP_NO_ERROR;
}

void BatteryManager::BatteryWorkHandler(struct k_work *work)
{
	int32_t voltage = kBatteryCurve[0].mv; /* fallback if ADC read fails */

	if (adc_is_ready_dt(&sBatteryAdc)) {
		int16_t raw = 0;
		struct adc_sequence sequence = {
			.buffer = &raw,
			.buffer_size = sizeof(raw),
		};
		(void)adc_sequence_init_dt(&sBatteryAdc, &sequence);

		int ret = adc_read_dt(&sBatteryAdc, &sequence);
		if (ret == 0) {
			int32_t mv = raw;
			ret = adc_raw_to_millivolts_dt(&sBatteryAdc, &mv);
			if (ret == 0) {
				voltage = mv;
			} else {
				LOG_ERR("Battery: mV conversion failed: %d", ret);
			}
		} else {
			LOG_ERR("Battery: ADC read failed: %d", ret);
		}
	} else {
		LOG_ERR("Battery: ADC channel not ready");
	}

	/* Stueckweise lineare Interpolation zwischen den Stuetzpunkten der
	 * L91-Entladekurve (kBatteryCurve ist absteigend nach Spannung sortiert).
	 * Matter BatPercentRemaining ist in Halb-Prozent-Einheiten (0-200 = 0-100%). */
	uint8_t percent;
	if (voltage >= kBatteryCurve[0].mv) {
		percent = kBatteryCurve[0].halfPercent;
	} else if (voltage <= kBatteryCurve[kBatteryCurvePoints - 1].mv) {
		percent = kBatteryCurve[kBatteryCurvePoints - 1].halfPercent;
	} else {
		percent = kBatteryCurve[kBatteryCurvePoints - 1].halfPercent;
		for (size_t i = 0; i + 1 < kBatteryCurvePoints; i++) {
			const BatteryCurvePoint &hi = kBatteryCurve[i];
			const BatteryCurvePoint &lo = kBatteryCurve[i + 1];

			if (voltage <= hi.mv && voltage >= lo.mv) {
				int32_t span = hi.mv - lo.mv;
				int32_t offset = voltage - lo.mv;
				percent = static_cast<uint8_t>(
					lo.halfPercent +
					(offset * (hi.halfPercent - lo.halfPercent)) / span);
				break;
			}
		}
	}

	LOG_INF("Battery: %d mV (%d.%d %%)", voltage, percent / 2, (percent % 2) * 5);

	PlatformMgr().LockChipStack();

	using namespace Clusters::PowerSource;
	Attributes::BatVoltage::Set(kPowerSourceEndpoint, static_cast<uint32_t>(voltage));
	Attributes::BatPercentRemaining::Set(kPowerSourceEndpoint, percent);
	Attributes::Status::Set(kPowerSourceEndpoint, PowerSourceStatusEnum::kActive);
	Attributes::Order::Set(kPowerSourceEndpoint, 1);
	Attributes::Description::Set(kPowerSourceEndpoint, chip::CharSpan::fromCharString("Battery"));
	/* BUG FIX: percent ist in Halb-Prozent-Einheiten (0-200), die Vergleiche
	 * hier verglichen bisher faelschlich gegen echte Prozentwerte (20/10)
	 * statt gegen die Halb-Prozent-Skala - "critical" loeste also schon bei
	 * 10% echten Restladung statt 20% aus, "replacement needed" bei 5%
	 * statt 10%. Jetzt auf *2 korrigiert. */
	Attributes::BatChargeLevel::Set(kPowerSourceEndpoint,
					percent < 40 ? BatChargeLevelEnum::kCritical : BatChargeLevelEnum::kOk);
	Attributes::BatPresent::Set(kPowerSourceEndpoint, true);
	Attributes::BatReplacementNeeded::Set(kPowerSourceEndpoint, percent < 20);
	Attributes::BatReplaceability::Set(kPowerSourceEndpoint, BatReplaceabilityEnum::kUserReplaceable);

	PlatformMgr().UnlockChipStack();

	Nrf::PostTask([percent] { DisplayManager::Instance().UpdateBattery(percent); });

	k_work_schedule(&BatteryManager::Instance().mBatteryWork, K_HOURS(1));
}
```

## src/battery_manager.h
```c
/*
 * Copyright (c) 2023 Nordic Semiconductor ASA
 *
 * SPDX-License-Identifier: LicenseRef-Nordic-5-Clause
 */
#pragma once

#include <lib/core/CHIPError.h>
#include <zephyr/kernel.h>

class BatteryManager {
public:
	CHIP_ERROR Init();

	static BatteryManager &Instance()
	{
		static BatteryManager sInstance;
		return sInstance;
	}

private:
	static void BatteryWorkHandler(struct k_work *work);
	k_work_delayable mBatteryWork;
};
```

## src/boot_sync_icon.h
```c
/* Auto-generiert (Sync-/Refresh-Pfeile), 1bpp, bit=0=schwarz, bit=1=weiss,
 * MSB-first pro Zeile - gleiche Konvention wie font_render.c. Boot-Splash-
 * Icon, waehrend des Resets/Bootens kurz zentriert angezeigt (siehe
 * DisplayManager::RenderFrame(), mShowingBootSplash), bevor die normale
 * Ansicht erscheint. */
#pragma once
#include <stdint.h>

#define BOOT_SYNC_ICON_WIDTH 72
#define BOOT_SYNC_ICON_HEIGHT 72

static const uint8_t boot_sync_icon_bitmap[] = {
	0xFF, 0xFF, 0xFF, 0xFC, 0x00, 0x1F, 0xFF, 0xFF, 0xFF,
	0xFF, 0xFF, 0xFF, 0xC0, 0x00, 0x01, 0xFF, 0xFF, 0xFF,
	0xFF, 0xFF, 0xFE, 0x00, 0x00, 0x00, 0x3F, 0xFF, 0xFF,
	0xFF, 0xFF, 0xF8, 0x00, 0x00, 0x00, 0x0F, 0xFF, 0xFF,
	0xFF, 0xFF, 0xE0, 0x00, 0x00, 0x00, 0x03, 0xFF, 0xF3,
	0xFF, 0xFF, 0x80, 0x00, 0x00, 0x00, 0x01, 0xFF, 0xE1,
	0xFF, 0xFF, 0x00, 0x00, 0x00, 0x00, 0x00, 0x7F, 0xC1,
	0xFF, 0xFC, 0x00, 0x00, 0x00, 0x00, 0x00, 0x3F, 0x81,
	0xFF, 0xF8, 0x00, 0x00, 0x00, 0x00, 0x00, 0x0F, 0x01,
	0xFF, 0xF0, 0x00, 0x00, 0x00, 0x00, 0x00, 0x06, 0x01,
	0xFF, 0xE0, 0x00, 0x00, 0x00, 0x00, 0x00, 0x00, 0x01,
	0xFF, 0xC0, 0x00, 0x00, 0x00, 0x00, 0x00, 0x00, 0x01,
	0xFF, 0x80, 0x00, 0x00, 0x18, 0x00, 0x00, 0x00, 0x01,
	0xFF, 0x00, 0x00, 0x07, 0xFF, 0xE0, 0x00, 0x00, 0x01,
	0xFE, 0x00, 0x00, 0x1F, 0xFF, 0xFC, 0x00, 0x00, 0x01,
	0xFE, 0x00, 0x00, 0x7F, 0xFF, 0xFF, 0x00, 0x00, 0x01,
	0xFC, 0x00, 0x01, 0xFF, 0xFF, 0xFF, 0x80, 0x00, 0x01,
	0xF8, 0x00, 0x03, 0xFF, 0xFF, 0xFF, 0xE0, 0x00, 0x01,
	0xF8, 0x00, 0x07, 0xFF, 0xFF, 0xFF, 0xF0, 0x00, 0x01,
	0xF0, 0x00, 0x0F, 0xFF, 0xFF, 0xFF, 0xF8, 0x00, 0x01,
	0xF0, 0x00, 0x1F, 0xFF, 0xFF, 0xFF, 0xF0, 0x00, 0x01,
	0xE0, 0x00, 0x3F, 0xFF, 0xFF, 0xFF, 0xE0, 0x00, 0x01,
	0xE0, 0x00, 0x7F, 0xFF, 0xFF, 0xFF, 0xC0, 0x00, 0x01,
	0xE0, 0x00, 0xFF, 0xFF, 0xFF, 0xFF, 0x80, 0x00, 0x01,
	0xC0, 0x00, 0xFF, 0xFF, 0xFF, 0xFF, 0x00, 0x00, 0x01,
	0xC0, 0x01, 0xFF, 0xFF, 0xFF, 0xFE, 0x00, 0x00, 0x01,
	0xC0, 0x01, 0xFF, 0xFF, 0xFF, 0xFC, 0x00, 0x00, 0x01,
	0x80, 0x03, 0xFF, 0xFF, 0xFF, 0xFC, 0x00, 0x00, 0x01,
	0xC0, 0x03, 0xFF, 0xFF, 0xFF, 0xFE, 0x00, 0x00, 0x03,
	0xFF, 0xFF, 0xFF, 0xFF, 0xFF, 0xFF, 0xFF, 0xFF, 0xFF,
	0xFF, 0xFF, 0xFF, 0xFF, 0xFF, 0xFF, 0xFF, 0xFF, 0xFF,
	0xFF, 0xFF, 0xFF, 0xFF, 0xFF, 0xFF, 0xFF, 0xFF, 0xFF,
	0xFF, 0xFF, 0xFF, 0xFF, 0xFF, 0xFF, 0xFF, 0xFF, 0xFF,
	0xFF, 0xFF, 0xFF, 0xFF, 0xFF, 0xFF, 0xFF, 0xFF, 0xFF,
	0xFF, 0xFF, 0xFF, 0xFF, 0xFF, 0xFF, 0xFF, 0xFF, 0xFF,
	0xFF, 0xFF, 0xFF, 0xFF, 0xFF, 0xFF, 0xFF, 0xFF, 0xFF,
	0xFF, 0xFF, 0xFF, 0xFF, 0xFF, 0xFF, 0xFF, 0xFF, 0xFF,
	0xFF, 0xFF, 0xFF, 0xFF, 0xFF, 0xFF, 0xFF, 0xFF, 0xFF,
	0xFF, 0xFF, 0xFF, 0xFF, 0xFF, 0xFF, 0xFF, 0xFF, 0xFF,
	0xFF, 0xFF, 0xFF, 0xFF, 0xFF, 0xFF, 0xFF, 0xFF, 0xFF,
	0xFF, 0xFF, 0xFF, 0xFF, 0xFF, 0xFF, 0xFF, 0xFF, 0xFF,
	0xFF, 0xFF, 0xFF, 0xFF, 0xFF, 0xFF, 0xFF, 0xFF, 0xFF,
	0xFF, 0xFF, 0xFF, 0xFF, 0xFF, 0xFF, 0xFF, 0xFF, 0xFF,
	0xC0, 0x00, 0x00, 0x7F, 0xFF, 0xFF, 0xFF, 0xC0, 0x03,
	0x80, 0x00, 0x00, 0x3F, 0xFF, 0xFF, 0xFF, 0xC0, 0x01,
	0x80, 0x00, 0x00, 0x3F, 0xFF, 0xFF, 0xFF, 0x80, 0x03,
	0x80, 0x00, 0x00, 0x7F, 0xFF, 0xFF, 0xFF, 0x80, 0x03,
	0x80, 0x00, 0x00, 0xFF, 0xFF, 0xFF, 0xFF, 0x00, 0x03,
	0x80, 0x00, 0x01, 0xFF, 0xFF, 0xFF, 0xFF, 0x00, 0x07,
	0x80, 0x00, 0x03, 0xFF, 0xFF, 0xFF, 0xFE, 0x00, 0x07,
	0x80, 0x00, 0x07, 0xFF, 0xFF, 0xFF, 0xFC, 0x00, 0x07,
	0x80, 0x00, 0x0F, 0xFF, 0xFF, 0xFF, 0xF8, 0x00, 0x0F,
	0x80, 0x00, 0x1F, 0xFF, 0xFF, 0xFF, 0xF0, 0x00, 0x0F,
	0x80, 0x00, 0x0F, 0xFF, 0xFF, 0xFF, 0xE0, 0x00, 0x1F,
	0x80, 0x00, 0x07, 0xFF, 0xFF, 0xFF, 0xC0, 0x00, 0x1F,
	0x80, 0x00, 0x01, 0xFF, 0xFF, 0xFF, 0x80, 0x00, 0x3F,
	0x80, 0x00, 0x00, 0xFF, 0xFF, 0xFE, 0x00, 0x00, 0x7F,
	0x80, 0x00, 0x00, 0x3F, 0xFF, 0xF8, 0x00, 0x00, 0x7F,
	0x80, 0x00, 0x00, 0x07, 0xFF, 0xE0, 0x00, 0x00, 0xFF,
	0x80, 0x00, 0x00, 0x00, 0x18, 0x00, 0x00, 0x01, 0xFF,
	0x80, 0x00, 0x00, 0x00, 0x00, 0x00, 0x00, 0x03, 0xFF,
	0x80, 0x00, 0x00, 0x00, 0x00, 0x00, 0x00, 0x07, 0xFF,
	0x80, 0x60, 0x00, 0x00, 0x00, 0x00, 0x00, 0x0F, 0xFF,
	0x80, 0xF0, 0x00, 0x00, 0x00, 0x00, 0x00, 0x1F, 0xFF,
	0x81, 0xFC, 0x00, 0x00, 0x00, 0x00, 0x00, 0x3F, 0xFF,
	0x83, 0xFE, 0x00, 0x00, 0x00, 0x00, 0x00, 0xFF, 0xFF,
	0x87, 0xFF, 0x80, 0x00, 0x00, 0x00, 0x01, 0xFF, 0xFF,
	0xCF, 0xFF, 0xC0, 0x00, 0x00, 0x00, 0x07, 0xFF, 0xFF,
	0xFF, 0xFF, 0xF0, 0x00, 0x00, 0x00, 0x1F, 0xFF, 0xFF,
	0xFF, 0xFF, 0xFC, 0x00, 0x00, 0x00, 0x7F, 0xFF, 0xFF,
	0xFF, 0xFF, 0xFF, 0x80, 0x00, 0x03, 0xFF, 0xFF, 0xFF,
	0xFF, 0xFF, 0xFF, 0xF8, 0x00, 0x3F, 0xFF, 0xFF, 0xFF,
};
```

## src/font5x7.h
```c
#pragma once
#include <stdint.h>

/* 5x7-Font, 95 druckbare ASCII-Zeichen (0x20-0x7E).
 * Jedes Zeichen: 5 Byte, je Byte eine Spalte, Bit 0 = oberste Zeile.
 * Oeffentlich verfuegbare Font-Daten (abgeleitet aus der ueblichen
 * 5x7-Font-Referenz, die in vielen Open-Source-LCD-Bibliotheken
 * mitgeliefert wird - z.B. Adafruit GFX glcdfont). */
static const uint8_t font5x7[95][5] = {
	{0x00,0x00,0x00,0x00,0x00}, /* space */
	{0x00,0x00,0x5F,0x00,0x00}, /* ! */
	{0x00,0x07,0x00,0x07,0x00}, /* " */
	{0x14,0x7F,0x14,0x7F,0x14}, /* # */
	{0x24,0x2A,0x7F,0x2A,0x12}, /* $ */
	{0x23,0x13,0x08,0x64,0x62}, /* % */
	{0x36,0x49,0x56,0x20,0x50}, /* & */
	{0x00,0x08,0x07,0x03,0x00}, /* ' */
	{0x00,0x1C,0x22,0x41,0x00}, /* ( */
	{0x00,0x41,0x22,0x1C,0x00}, /* ) */
	{0x2A,0x1C,0x7F,0x1C,0x2A}, /* * */
	{0x08,0x08,0x3E,0x08,0x08}, /* + */
	{0x00,0x80,0x70,0x30,0x00}, /* , */
	{0x08,0x08,0x08,0x08,0x08}, /* - */
	{0x00,0x00,0x60,0x60,0x00}, /* . */
	{0x20,0x10,0x08,0x04,0x02}, /* / */
	{0x3E,0x51,0x49,0x45,0x3E}, /* 0 */
	{0x00,0x42,0x7F,0x40,0x00}, /* 1 */
	{0x72,0x49,0x49,0x49,0x46}, /* 2 */
	{0x21,0x41,0x49,0x4D,0x33}, /* 3 */
	{0x18,0x14,0x12,0x7F,0x10}, /* 4 */
	{0x27,0x45,0x45,0x45,0x39}, /* 5 */
	{0x3C,0x4A,0x49,0x49,0x30}, /* 6 */
	{0x01,0x71,0x09,0x05,0x03}, /* 7 */
	{0x36,0x49,0x49,0x49,0x36}, /* 8 */
	{0x06,0x49,0x49,0x29,0x1E}, /* 9 */
	{0x00,0x36,0x36,0x00,0x00}, /* : */
	{0x00,0x56,0x36,0x00,0x00}, /* ; */
	{0x08,0x14,0x22,0x41,0x00}, /* < */
	{0x14,0x14,0x14,0x14,0x14}, /* = */
	{0x00,0x41,0x22,0x14,0x08}, /* > */
	{0x02,0x01,0x59,0x09,0x06}, /* ? */
	{0x3E,0x41,0x5D,0x59,0x4E}, /* @ */
	{0x7C,0x12,0x11,0x12,0x7C}, /* A */
	{0x7F,0x49,0x49,0x49,0x36}, /* B */
	{0x3E,0x41,0x41,0x41,0x22}, /* C */
	{0x7F,0x41,0x41,0x41,0x3E}, /* D */
	{0x7F,0x49,0x49,0x49,0x41}, /* E */
	{0x7F,0x09,0x09,0x09,0x01}, /* F */
	{0x3E,0x41,0x41,0x49,0x7A}, /* G */
	{0x7F,0x08,0x08,0x08,0x7F}, /* H */
	{0x00,0x41,0x7F,0x41,0x00}, /* I */
	{0x20,0x40,0x41,0x3F,0x01}, /* J */
	{0x7F,0x08,0x14,0x22,0x41}, /* K */
	{0x7F,0x40,0x40,0x40,0x40}, /* L */
	{0x7F,0x02,0x0C,0x02,0x7F}, /* M */
	{0x7F,0x04,0x08,0x10,0x7F}, /* N */
	{0x3E,0x41,0x41,0x41,0x3E}, /* O */
	{0x7F,0x09,0x09,0x09,0x06}, /* P */
	{0x3E,0x41,0x51,0x21,0x5E}, /* Q */
	{0x7F,0x09,0x19,0x29,0x46}, /* R */
	{0x46,0x49,0x49,0x49,0x31}, /* S */
	{0x01,0x01,0x7F,0x01,0x01}, /* T */
	{0x3F,0x40,0x40,0x40,0x3F}, /* U */
	{0x1F,0x20,0x40,0x20,0x1F}, /* V */
	{0x3F,0x40,0x38,0x40,0x3F}, /* W */
	{0x63,0x14,0x08,0x14,0x63}, /* X */
	{0x07,0x08,0x70,0x08,0x07}, /* Y */
	{0x61,0x51,0x49,0x45,0x43}, /* Z */
	{0x00,0x7F,0x41,0x41,0x00}, /* [ */
	{0x02,0x04,0x08,0x10,0x20}, /* \ */
	{0x00,0x41,0x41,0x7F,0x00}, /* ] */
	{0x04,0x02,0x01,0x02,0x04}, /* ^ */
	{0x40,0x40,0x40,0x40,0x40}, /* _ */
	{0x00,0x01,0x02,0x04,0x00}, /* ` */
	{0x20,0x54,0x54,0x54,0x78}, /* a */
	{0x7F,0x48,0x44,0x44,0x38}, /* b */
	{0x38,0x44,0x44,0x44,0x20}, /* c */
	{0x38,0x44,0x44,0x48,0x7F}, /* d */
	{0x38,0x54,0x54,0x54,0x18}, /* e */
	{0x08,0x7E,0x09,0x01,0x02}, /* f */
	{0x0C,0x52,0x52,0x52,0x3E}, /* g */
	{0x7F,0x08,0x04,0x04,0x78}, /* h */
	{0x00,0x44,0x7D,0x40,0x00}, /* i */
	{0x20,0x40,0x44,0x3D,0x00}, /* j */
	{0x7F,0x10,0x28,0x44,0x00}, /* k */
	{0x00,0x41,0x7F,0x40,0x00}, /* l */
	{0x7C,0x04,0x18,0x04,0x78}, /* m */
	{0x7C,0x08,0x04,0x04,0x78}, /* n */
	{0x38,0x44,0x44,0x44,0x38}, /* o */
	{0x7C,0x14,0x14,0x14,0x08}, /* p */
	{0x08,0x14,0x14,0x18,0x7C}, /* q */
	{0x7C,0x08,0x04,0x04,0x08}, /* r */
	{0x48,0x54,0x54,0x54,0x20}, /* s */
	{0x04,0x3F,0x44,0x40,0x20}, /* t */
	{0x3C,0x40,0x40,0x20,0x7C}, /* u */
	{0x1C,0x20,0x40,0x20,0x1C}, /* v */
	{0x3C,0x40,0x30,0x40,0x3C}, /* w */
	{0x44,0x28,0x10,0x28,0x44}, /* x */
	{0x0C,0x50,0x50,0x50,0x3C}, /* y */
	{0x44,0x64,0x54,0x4C,0x44}, /* z */
	{0x00,0x08,0x36,0x41,0x00}, /* { */
	{0x00,0x00,0x7F,0x00,0x00}, /* | */
	{0x00,0x41,0x36,0x08,0x00}, /* } */
	{0x08,0x08,0x2A,0x1C,0x08}, /* ~ (als Grad-Ersatz nutzbar, siehe unten) */
};

#define FONT5X7_FIRST_CHAR 0x20
#define FONT5X7_LAST_CHAR  0x7E
#define FONT5X7_WIDTH      5
#define FONT5X7_HEIGHT     7
```

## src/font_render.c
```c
#include "font_render.h"
#include "font5x7.h"

/* Setzt ein einzelnes Pixel im 1bpp-Framebuffer.
 * Layout: Zeile fuer Zeile, je Zeile (fb_width+7)/8 Byte, MSB = linkestes Pixel. */
static void fb_set_pixel(uint8_t *fb, uint16_t fb_width, uint16_t fb_height,
			 uint16_t x, uint16_t y, uint8_t color)
{
	if (x >= fb_width || y >= fb_height) {
		return;
	}
	size_t bytes_per_row = (fb_width + 7) / 8;
	size_t byte_idx = y * bytes_per_row + (x / 8);
	uint8_t bit_mask = 0x80 >> (x % 8);

	/* Laut Microtech-Datenblatt (Beispiel im "LUT from OTP Operation Flow"):
	 * ein Framebuffer aus lauter 0x00-Bytes zeigt "all black" - Bit=0 ist
	 * also schwarz, Bit=1 weiss. Umgekehrt zur vorherigen (falschen) Annahme. */
	if (color) {
		fb[byte_idx] &= ~bit_mask; /* schwarz */
	} else {
		fb[byte_idx] |= bit_mask;  /* weiss */
	}
}

void font_draw_char(uint8_t *fb, uint16_t fb_width, uint16_t fb_height,
		    uint16_t x, uint16_t y, char c, uint8_t scale, uint8_t color)
{
	if (c < FONT5X7_FIRST_CHAR || c > FONT5X7_LAST_CHAR) {
		c = ' '; /* unbekannte Zeichen als Leerzeichen */
	}
	const uint8_t *glyph = font5x7[c - FONT5X7_FIRST_CHAR];

	for (uint8_t col = 0; col < FONT5X7_WIDTH; col++) {
		uint8_t column_bits = glyph[col];
		for (uint8_t row = 0; row < FONT5X7_HEIGHT; row++) {
			if (column_bits & (1 << row)) {
				/* ein Font-Pixel auf scale x scale Ausgabepixel aufblasen */
				for (uint8_t sx = 0; sx < scale; sx++) {
					for (uint8_t sy = 0; sy < scale; sy++) {
						fb_set_pixel(fb, fb_width, fb_height,
							    x + col * scale + sx,
							    y + row * scale + sy,
							    color);
					}
				}
			}
		}
	}
}

void font_draw_string(uint8_t *fb, uint16_t fb_width, uint16_t fb_height,
		      uint16_t x, uint16_t y, const char *str, uint8_t scale, uint8_t color)
{
	uint16_t cursor_x = x;
	const uint16_t char_advance = (FONT5X7_WIDTH + 1) * scale; /* +1 Pixel Abstand */

	while (*str != '\0') {
		font_draw_char(fb, fb_width, fb_height, cursor_x, y, *str, scale, color);
		cursor_x += char_advance;
		str++;
	}
}

void font_draw_bitmap(uint8_t *fb, uint16_t fb_width, uint16_t fb_height,
		      uint16_t x, uint16_t y, const uint8_t *bitmap,
		      uint16_t bitmap_width, uint16_t bitmap_height)
{
	size_t bitmap_bytes_per_row = (bitmap_width + 7) / 8;

	for (uint16_t by = 0; by < bitmap_height; by++) {
		for (uint16_t bx = 0; bx < bitmap_width; bx++) {
			size_t src_byte_idx = by * bitmap_bytes_per_row + (bx / 8);
			uint8_t src_bit_mask = 0x80 >> (bx % 8);
			uint8_t pixel_is_white = (bitmap[src_byte_idx] & src_bit_mask) != 0;

			/* color-Parameter von fb_set_pixel: 1=schwarz setzen. Die
			 * Bitmap ist bereits in derselben bit=0-schwarz-Konvention
			 * gespeichert, deshalb hier direkt uebernehmen statt wie bei
			 * font_draw_char ueber ein gesetztes Font-Bit zu entscheiden. */
			fb_set_pixel(fb, fb_width, fb_height, x + bx, y + by, pixel_is_white ? 0 : 1);
		}
	}
}
```
